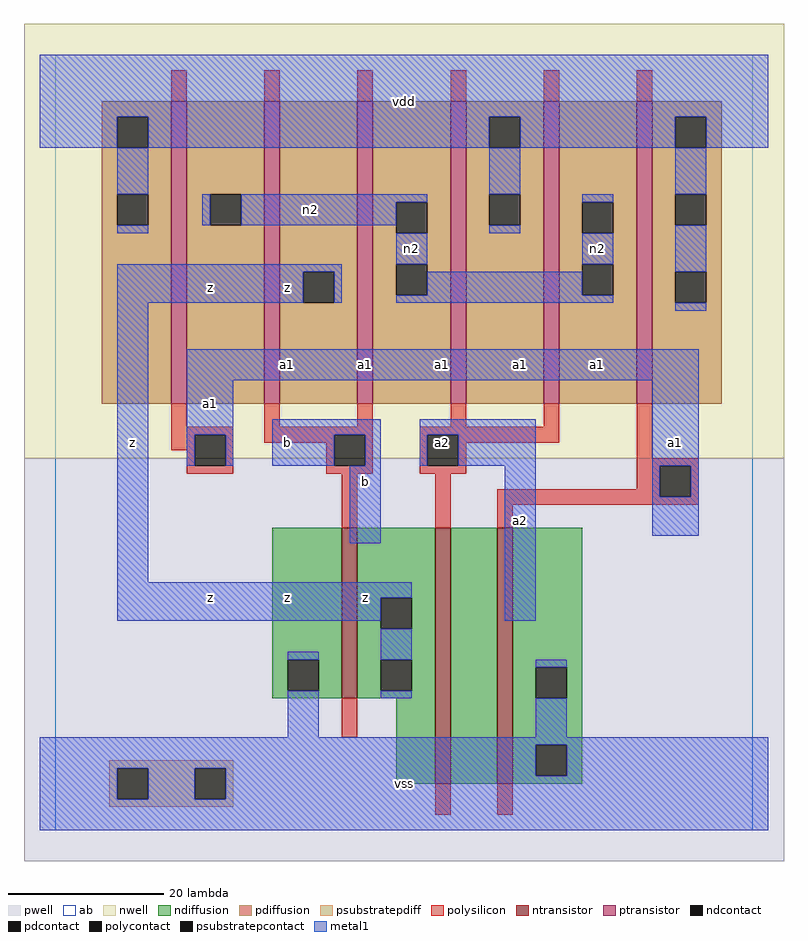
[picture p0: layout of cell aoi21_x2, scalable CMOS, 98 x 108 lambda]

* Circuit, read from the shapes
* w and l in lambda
.subckt aoi21_x2 a1 a2 b n2 vdd vss z
M1 z b vss vss nfet w=22 l=2
M2 n1 a2 z vss nfet w=33 l=2
M3 vss a1 n1 vss nfet w=33 l=2
M4 n2 a1 vdd n3 pfet w=39 l=2 m=2
M5 z b n2 n3 pfet w=39 l=2 m=2
M6 vdd a2 n2 n3 pfet w=39 l=2 m=2
.ends

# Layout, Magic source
magic
tech scmos
<< ab >>
rect 0 0 90 100
<< pwell >>
rect -4 -4 94 48
<< nwell >>
rect -4 48 94 104
<< polysilicon >>
rect 15 94 17 98
rect 27 94 29 98
rect 39 94 41 98
rect 51 94 53 98
rect 63 94 65 98
rect 75 94 77 98
rect 15 52 17 55
rect 27 52 29 55
rect 39 52 41 55
rect 51 52 53 55
rect 63 52 65 55
rect 15 51 23 52
rect 15 49 18 51
rect 17 47 18 49
rect 22 47 23 51
rect 27 51 41 52
rect 27 50 36 51
rect 17 46 23 47
rect 35 47 36 50
rect 40 47 41 51
rect 35 46 41 47
rect 47 51 65 52
rect 47 47 48 51
rect 52 50 65 51
rect 52 47 53 50
rect 47 46 53 47
rect 75 48 77 55
rect 75 47 83 48
rect 37 39 39 46
rect 49 39 51 46
rect 75 44 78 47
rect 57 43 78 44
rect 82 43 83 47
rect 57 42 83 43
rect 57 39 59 42
rect 37 12 39 17
rect 49 2 51 6
rect 57 2 59 6
<< ndiffusion >>
rect 28 22 37 39
rect 28 18 30 22
rect 34 18 37 22
rect 28 17 37 18
rect 39 30 49 39
rect 39 26 42 30
rect 46 26 49 30
rect 39 22 49 26
rect 39 18 42 22
rect 46 18 49 22
rect 39 17 49 18
rect 44 6 49 17
rect 51 6 57 39
rect 59 21 68 39
rect 59 17 62 21
rect 66 17 68 21
rect 59 11 68 17
rect 59 7 62 11
rect 66 7 68 11
rect 59 6 68 7
<< pdiffusion >>
rect 6 92 15 94
rect 6 88 8 92
rect 12 88 15 92
rect 6 82 15 88
rect 6 78 8 82
rect 12 78 15 82
rect 6 55 15 78
rect 17 82 27 94
rect 17 78 20 82
rect 24 78 27 82
rect 17 55 27 78
rect 29 72 39 94
rect 29 68 32 72
rect 36 68 39 72
rect 29 55 39 68
rect 41 81 51 94
rect 41 77 44 81
rect 48 77 51 81
rect 41 73 51 77
rect 41 69 44 73
rect 48 69 51 73
rect 41 55 51 69
rect 53 92 63 94
rect 53 88 56 92
rect 60 88 63 92
rect 53 82 63 88
rect 53 78 56 82
rect 60 78 63 82
rect 53 55 63 78
rect 65 81 75 94
rect 65 77 68 81
rect 72 77 75 81
rect 65 73 75 77
rect 65 69 68 73
rect 72 69 75 73
rect 65 55 75 69
rect 77 92 86 94
rect 77 88 80 92
rect 84 88 86 92
rect 77 82 86 88
rect 77 78 80 82
rect 84 78 86 82
rect 77 72 86 78
rect 77 68 80 72
rect 84 68 86 72
rect 77 55 86 68
<< metal1 >>
rect -2 92 92 100
rect -2 88 8 92
rect 12 88 56 92
rect 60 88 80 92
rect 84 88 92 92
rect 8 82 12 88
rect 56 82 60 88
rect 80 82 84 88
rect 19 78 20 82
rect 24 81 48 82
rect 24 78 44 81
rect 8 77 12 78
rect 56 77 60 78
rect 68 81 72 82
rect 44 73 48 77
rect 8 72 37 73
rect 8 68 32 72
rect 36 68 37 72
rect 68 73 72 77
rect 48 69 68 72
rect 44 68 72 69
rect 80 72 84 78
rect 8 32 12 68
rect 80 67 84 68
rect 17 58 83 62
rect 17 51 23 58
rect 17 47 18 51
rect 22 47 23 51
rect 28 51 42 53
rect 28 47 36 51
rect 40 47 42 51
rect 47 51 62 53
rect 47 47 48 51
rect 52 47 62 51
rect 38 37 42 47
rect 8 30 46 32
rect 8 27 42 30
rect 58 27 62 47
rect 77 47 83 58
rect 77 43 78 47
rect 82 43 83 47
rect 77 38 83 43
rect 30 22 34 23
rect 30 12 34 18
rect 42 22 46 26
rect 42 17 46 18
rect 62 21 66 22
rect 62 12 66 17
rect -2 11 92 12
rect -2 8 62 11
rect -2 4 8 8
rect 12 4 18 8
rect 22 7 62 8
rect 66 7 92 11
rect 22 4 92 7
rect -2 0 92 4
<< ntransistor >>
rect 37 17 39 39
rect 49 6 51 39
rect 57 6 59 39
<< ptransistor >>
rect 15 55 17 94
rect 27 55 29 94
rect 39 55 41 94
rect 51 55 53 94
rect 63 55 65 94
rect 75 55 77 94
<< polycontact >>
rect 18 47 22 51
rect 36 47 40 51
rect 48 47 52 51
rect 78 43 82 47
<< ndcontact >>
rect 30 18 34 22
rect 42 26 46 30
rect 42 18 46 22
rect 62 17 66 21
rect 62 7 66 11
<< pdcontact >>
rect 8 88 12 92
rect 8 78 12 82
rect 20 78 24 82
rect 32 68 36 72
rect 44 77 48 81
rect 44 69 48 73
rect 56 88 60 92
rect 56 78 60 82
rect 68 77 72 81
rect 68 69 72 73
rect 80 88 84 92
rect 80 78 84 82
rect 80 68 84 72
<< psubstratepcontact >>
rect 8 4 12 8
rect 18 4 22 8
<< psubstratepdiff >>
rect 7 8 23 9
rect 7 4 8 8
rect 12 4 18 8
rect 22 4 23 8
rect 7 3 23 4
<< labels >>
rlabel metal1 10 50 10 50 6 z
rlabel metal1 20 30 20 30 6 z
rlabel metal1 30 30 30 30 6 z
rlabel metal1 20 55 20 55 6 a1
rlabel metal1 30 50 30 50 6 b
rlabel metal1 30 60 30 60 6 a1
rlabel metal1 20 70 20 70 6 z
rlabel metal1 30 70 30 70 6 z
rlabel metal1 45 6 45 6 6 vss
rlabel metal1 40 30 40 30 6 z
rlabel polycontact 50 50 50 50 6 a2
rlabel metal1 40 45 40 45 6 b
rlabel metal1 40 60 40 60 6 a1
rlabel metal1 50 60 50 60 6 a1
rlabel metal1 46 75 46 75 6 n2
rlabel metal1 33 80 33 80 6 n2
rlabel metal1 45 94 45 94 6 vdd
rlabel metal1 60 40 60 40 6 a2
rlabel metal1 60 60 60 60 6 a1
rlabel metal1 70 60 70 60 6 a1
rlabel metal1 70 75 70 75 6 n2
rlabel metal1 80 50 80 50 6 a1
<< end >>
